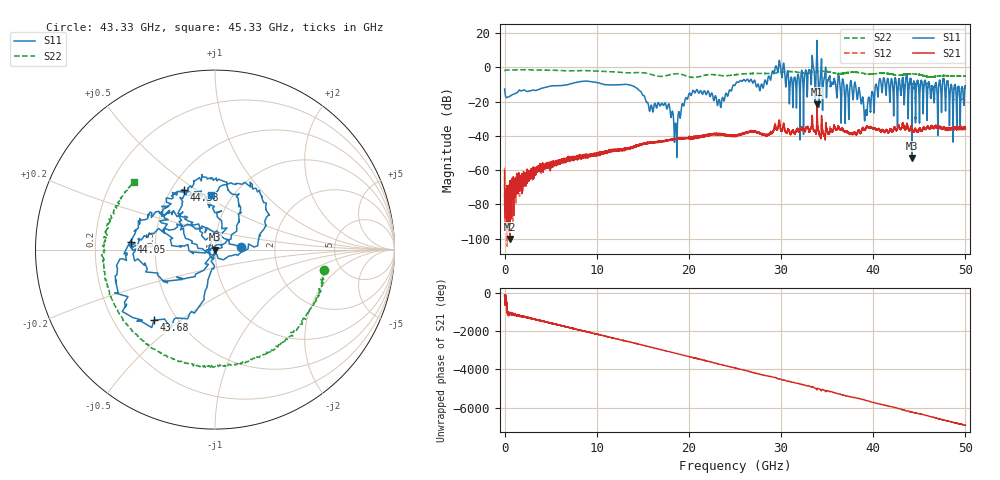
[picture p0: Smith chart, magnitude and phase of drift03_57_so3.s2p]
!Created with skrf (http://scikit-rf.org).
# Hz S RI R 50.0
!freq ReS11 ImS11 ReS21 ImS21 ReS12 ImS12 ReS22 ImS22
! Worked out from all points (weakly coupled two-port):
!   10001 points, 300 kHz to 50 GHz, reference 50 ohm
!   highest |S21| = -21.48 dB at 33.9 GHz (marker M1); lowest = -100.2 dB at 590.3 MHz (marker M2)
!   lowest |S11| = -52.9 dB at 44.2 GHz (marker M3), VSWR 1.00, Z = 50.2 - j0.114 ohm
!   |S11| at or under -10 dB: start of sweep to 6.946 GHz; 13.32 GHz to 25.04 GHz (11.72 GHz wide, 61.1 % of centre); 38.08 GHz to 40.26 GHz (2.186 GHz wide, 5.58 % of centre) (the widest 3 of 57)
!   |S22| runs from -5.9 to -1.3 dB; largest |S21 - S12| = 0.0087
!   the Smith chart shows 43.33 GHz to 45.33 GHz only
!   S11 on the Smith chart (normalised r, x): 43.33 GHz: 1.33, +0.04; 43.68 GHz: 0.37, -0.40; 44.05 GHz: 0.36, +0.04; 44.38 GHz: 0.58, +0.45; 45.33 GHz: 0.80, +0.54
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300000  -0.2113 -0.1  -0.000917 -0.000298  -9.53e-05 0.00118  -0.7597 -0.1953
5.902965e8  -0.0517 0.1347  8.34e-06 5.08e-06  8.13e-05 9.38e-06  -0.3078 0.7859
2.335286e9  0.0224 -0.2013  -0.00051 -9.97e-06  -0.000432 0.000145  0.0901 -0.8519
3.935276e9  -0.0196 0.2405  0.00115 -0.000233  0.00123 -6.66e-05  -0.0301 0.8319
5.470267e9  0.0678 -0.2822  -0.00168 -3.75e-05  -0.00158 0.000204  0.1705 -0.8092
8.33525e9  0.284 -0.2677  -0.00194 -0.000746  -0.00248 -0.00107  0.6026 -0.5358
9.590242e9  -0.3717 -0.0371  0.00134 0.00244  0.00147 0.00242  -0.7882 -0.0728
1.123523e10  0.3053 0.0303  -0.00218 -0.00271  -0.00228 -0.0029  0.7567 0.0355
1.66702e10  0.0535 0.0756  0.00464 -0.00483  0.00473 -0.00483  -0.3606 0.4175
2.500015e10  -0.2971 -0.0489  0.00798 0.00674  0.00747 0.00666  -0.1857 -0.5817
3.051512e10  0.2378 -0.1272  -0.00201 0.0128  -0.00226 0.0127  0.743 -0.0663
3.213011e10  0.2016 0.3724  -0.000264 -0.0145  -0.000416 -0.0149  -0.6923 0.00203
3.33351e10  0.4624 -1.004  -0.00389 0.0256  -0.00583 0.0249  0.6137 0.3684
3.39001e10  1.787 -5.667  0.0751 0.0385  0.0703 0.036  0.674 -0.3247
4.167005e10  -0.2222 0.2841  -0.0114 -0.00436  -0.012 -0.00471  -0.6544 -0.061
4.332504e10  0.1428 0.0136  0.0181 0.00187  0.0171 0.00244  0.6093 -0.116
4.367504e10  -0.3407 -0.3938  0.0148 -0.0171  0.0143 -0.0168  0.3839 -0.5169
4.404504e10  -0.4697 0.0438  -0.00403 -0.0164  -0.00354 -0.0164  -0.0267 -0.6536
4.419503e10  0.00197 -0.00113  -0.00405 -0.0146  -0.00422 -0.0156  -0.1945 -0.6225
4.437503e10  -0.1705 0.3319  -0.00831 -0.0101  -0.00895 -0.01  -0.3735 -0.5346
4.532503e10  -0.0209 0.3067  -0.00823 0.0116  -0.00845 0.0119  -0.4485 0.3751
5e10  -0.1466 -0.2503  0.00167 -0.0154  0.00131 -0.0173  0.4703 -0.3119
